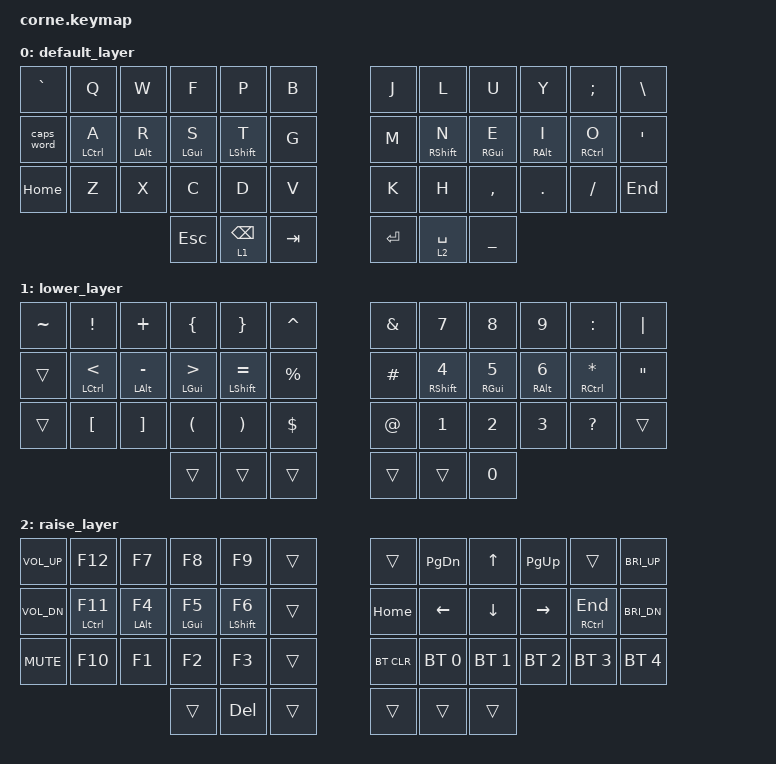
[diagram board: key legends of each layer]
/*
 * Copyright (c) 2020 The ZMK Contributors
 *
 * SPDX-License-Identifier: MIT
 */

#include <behaviors.dtsi>
#include <dt-bindings/zmk/keys.h>
#include <dt-bindings/zmk/bt.h>

#define KEYS_L 0 1 2 3 4 5 12 13 14 15 16 17 24 25 26 27 28 29
#define KEYS_R 6 7 8 9 10 11 18 19 20 21 22 23 30 31 32 33 34 35
#define THUMBS 36 37 38 39 40 41

&lt {
        tapping-term-ms = <150>;
};

&sk {
        quick-release;
};

/ {
        behaviors {
                // Left HRMs
                hml: hml {
                        compatible = "zmk,behavior-hold-tap";
                        #binding-cells = <2>;
                        flavor = "balanced";
                        tapping-term-ms = <280>;
                        quick-tap-ms = <175>;
                        require-prior-idle-ms = <115>; // urob default is 150
                        bindings = <&kp>, <&kp>;
                        hold-trigger-key-positions = <KEYS_R THUMBS>;
                        hold-trigger-on-release;
                };

                // Right HRMs
                hmr: hmr {
                        compatible = "zmk,behavior-hold-tap";
                        #binding-cells = <2>;
                        flavor = "balanced";
                        tapping-term-ms = <280>;
                        quick-tap-ms = <175>;
                        require-prior-idle-ms = <115>; // urob default is 150
                        bindings = <&kp>, <&kp>;
                        hold-trigger-key-positions = <KEYS_L THUMBS>;
                        hold-trigger-on-release;
                };
        };

        keymap {
                compatible = "zmk,keymap";

                default_layer {
                        bindings = <
   &kp GRAVE  &kp Q        &kp W       &kp F       &kp P        &kp B          &kp J   &kp L        &kp U       &kp Y       &kp SEMI     &kp BSLH
   &caps_word &hml LCTRL A &hml LALT R &hml LGUI S &hml LSHFT T &kp G          &kp M   &hmr RSHFT N &hmr RGUI E &hmr RALT I &hmr RCTRL O &kp SQT
   &kp HOME   &kp Z        &kp X       &kp C       &kp D        &kp V          &kp K   &kp H        &kp COMMA   &kp DOT     &kp FSLH     &kp END
                                       &kp ESC     &lt 1 BSPC   &kp TAB        &kp RET &lt 2 SPACE  &kp UNDER
                        >;
                };
 
                lower_layer {
                        bindings = <
   &kp TILDE &kp EXCL      &kp PLUS        &kp LBRC     &kp RBRC         &kp CARET        &kp AMPS &kp N7        &kp N8       &kp N9       &kp COLON       &kp PIPE
   &trans    &hml LCTRL LT &hml LALT MINUS &hml LGUI GT &hml LSHFT EQUAL &kp PRCNT        &kp HASH &hmr RSHFT N4 &hmr RGUI N5 &hmr RALT N6 &hmr RCTRL STAR &kp DQT
   &trans    &kp LBKT      &kp RBKT        &kp LPAR     &kp RPAR         &kp DLLR         &kp AT   &kp N1        &kp N2       &kp N3       &kp QMARK       &trans
                                           &trans       &trans           &trans           &trans   &trans        &kp N0
                        >;
                };

                raise_layer {
                        bindings = <
   &kp C_VOL_UP &kp F12        &kp F7       &kp F8       &kp F9        &trans        &trans     &kp PG_DN    &kp UP       &kp PG_UP    &trans         &kp C_BRI_UP
   &kp C_VOL_DN &hml LCTRL F11 &hml LALT F4 &hml LGUI F5 &hml LSHFT F6 &trans        &kp HOME   &kp LEFT     &kp DOWN     &kp RIGHT    &hmr RCTRL END &kp C_BRI_DN
   &kp C_MUTE   &kp F10        &kp F1       &kp F2       &kp F3        &trans        &bt BT_CLR &bt BT_SEL 0 &bt BT_SEL 1 &bt BT_SEL 2 &bt BT_SEL 3   &bt BT_SEL 4
                                            &trans       &kp DEL       &trans        &trans     &trans       &trans
                        >;
                };
        };
};
